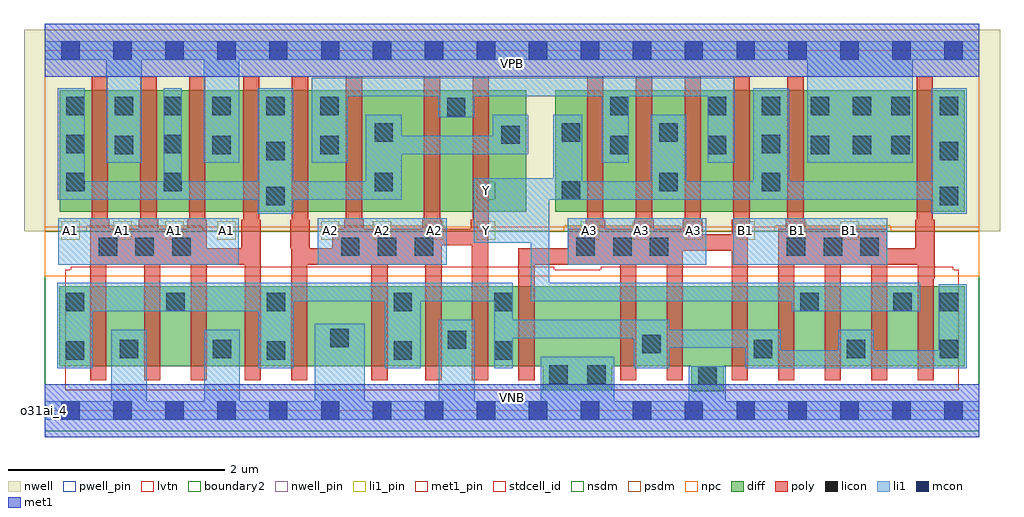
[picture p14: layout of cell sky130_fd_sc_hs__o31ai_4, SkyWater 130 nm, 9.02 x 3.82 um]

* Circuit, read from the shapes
.subckt sky130_fd_sc_hs__o31ai_4 A1 A2 A3 B1 VGND VNB VPB VPWR Y
XM1 VGND A1 n1 VNB sky130_fd_pr__nfet_01v8_lvt w=0.74 l=0.15 m=4
XM2 VGND A2 n1 VNB sky130_fd_pr__nfet_01v8_lvt w=0.74 l=0.15 m=4
XM3 VGND A3 n1 VNB sky130_fd_pr__nfet_01v8_lvt w=0.74 l=0.15 m=4
XM4 Y B1 n1 VNB sky130_fd_pr__nfet_01v8_lvt w=0.74 l=0.15 m=4
XM5 VPWR A1 n2 VPB sky130_fd_pr__pfet_01v8 w=1.12 l=0.15 m=4
XM6 n3 A2 n2 VPB sky130_fd_pr__pfet_01v8 w=1.12 l=0.15 m=4
XM7 n3 A3 Y VPB sky130_fd_pr__pfet_01v8 w=1.12 l=0.15 m=4
XM8 VPWR B1 Y VPB sky130_fd_pr__pfet_01v8 w=1.12 l=0.15 m=2
.ends

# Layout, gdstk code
import gdstk
lib = gdstk.Library(unit=1e-6, precision=1e-09)
def R(c, l, rs):  # rectangles x0, y0, x1, y1
    for r in rs: c.add(gdstk.rectangle(r[:2], r[2:], *l))
def A(c, l, x, y, w, h, nx, ny, dx, dy):  # array of equal rectangles
    R(c, l, [(x+i*dx, y+j*dy, x+i*dx+w, y+j*dy+h) for i in range(nx) for j in range(ny)])
def P(c, l, *ps):  # polygons
    for p in ps: c.add(gdstk.Polygon(p, *l))
nwell_pin = (64, 16)
nwell = (64, 20)
diff = (65, 20)
poly = (66, 20)
licon = (66, 44)
li1_pin = (67, 16)
li1 = (67, 20)
mcon = (67, 44)
met1_pin = (68, 16)
met1 = (68, 20)
stdcell_id = (81, 4)
nsdm = (93, 44)
psdm = (94, 20)
npc = (95, 20)
pwell_pin = (122, 16)
lvtn = (125, 44)
boundary2 = (236, 0)

sky130_fd_sc_hs__o31ai_4 = lib.new_cell('sky130_fd_sc_hs__o31ai_4')
R(sky130_fd_sc_hs__o31ai_4, nwell_pin, [(0,3.085,8.64,3.33)])
R(sky130_fd_sc_hs__o31ai_4, nwell, [(-0.19,1.66,8.83,3.52)])
R(sky130_fd_sc_hs__o31ai_4, diff, [(0.14,1.84,4.45,2.96), (4.72,1.84,8.505,2.96)])
P(sky130_fd_sc_hs__o31ai_4, diff, [(8.505,1.15),(0.135,1.15),(0.135,0.41),(4.605,0.41),(4.605,0.19),(5.245,0.19),(5.245,0.41),(5.975,0.41),(5.975,0.18),(6.275,0.18),(6.275,0.41),(8.505,0.41)])
P(sky130_fd_sc_hs__o31ai_4, poly, [(2,1.765),(1.985,1.765),(1.985,3.09),(1.835,3.09),(1.835,1.765),(1.82,1.765),(1.82,1.5),(1.5,1.5),(1.5,1.765),(1.485,1.765),(1.485,3.09),(1.335,3.09),(1.335,1.765),(1.32,1.765),(1.32,1.68),(1.05,1.68),(1.05,1.765),(1.035,1.765),(1.035,3.09),(0.885,3.09),(0.885,1.765),(0.87,1.765),(0.87,1.68),(0.6,1.68),(0.6,1.765),(0.585,1.765),(0.585,3.09),(0.435,3.09),(0.435,1.765),(0.42,1.765),(0.42,0.28),(0.57,0.28),(0.57,1.35),(0.92,1.35),(0.92,0.28),(1.07,0.28),(1.07,1.35),(1.35,1.35),(1.35,0.28),(1.5,0.28),(1.5,1.35),(1.85,1.35),(1.85,0.28),(2,0.28)],
  [(4.105,3.09),(3.955,3.09),(3.955,1.765),(3.94,1.765),(3.94,1.68),(3.67,1.68),(3.67,1.765),(3.655,1.765),(3.655,3.09),(3.505,3.09),(3.505,1.765),(3.49,1.765),(3.49,1.68),(2.95,1.68),(2.95,1.765),(2.935,1.765),(2.935,3.09),(2.785,3.09),(2.785,1.765),(2.77,1.765),(2.77,1.68),(2.66,1.68),(2.66,1.5),(2.45,1.5),(2.45,1.765),(2.435,1.765),(2.435,3.09),(2.285,3.09),(2.285,1.765),(2.27,1.765),(2.27,1.5),(2.28,1.5),(2.28,0.28),(2.43,0.28),(2.43,1.35),(3.02,1.35),(3.02,0.28),(3.17,0.28),(3.17,1.35),(3.52,1.35),(3.52,0.28),(3.67,0.28),(3.67,1.53),(3.95,1.53),(3.95,0.28),(4.1,0.28),(4.1,1.68),(4.105,1.68)],
  [(6.515,3.09),(6.365,3.09),(6.365,1.765),(6.35,1.765),(6.35,1.63),(6.08,1.63),(6.08,1.765),(6.065,1.765),(6.065,3.09),(5.915,3.09),(5.915,1.765),(5.9,1.765),(5.9,1.68),(5.63,1.68),(5.63,1.765),(5.615,1.765),(5.615,3.09),(5.465,3.09),(5.465,1.765),(5.45,1.765),(5.45,1.68),(5.18,1.68),(5.18,1.765),(5.165,1.765),(5.165,3.09),(5.015,3.09),(5.015,1.765),(5,1.765),(5,1.68),(4.835,1.68),(4.835,1.5),(4.38,1.5),(4.38,0.28),(4.53,0.28),(4.53,1.35),(5.32,1.35),(5.32,0.28),(5.47,0.28),(5.47,1.35),(5.75,1.35),(5.75,0.28),(5.9,0.28),(5.9,1.48),(6.35,1.48),(6.35,0.28),(6.5,0.28),(6.5,1.63),(6.515,1.63)],
  [(8.225,1.765),(8.21,1.765),(8.21,3.09),(8.06,3.09),(8.06,1.765),(8.045,1.765),(8.045,1.5),(7.79,1.5),(7.79,1.68),(7.03,1.68),(7.03,1.765),(7.015,1.765),(7.015,3.09),(6.865,3.09),(6.865,1.765),(6.85,1.765),(6.85,1.68),(6.78,1.68),(6.78,0.28),(6.93,0.28),(6.93,1.35),(7.21,1.35),(7.21,0.28),(7.36,0.28),(7.36,1.35),(7.64,1.35),(7.64,0.28),(7.79,0.28),(7.79,1.35),(8.07,1.35),(8.07,0.28),(8.22,0.28),(8.22,1.225),(8.225,1.225)])
A(sky130_fd_sc_hs__o31ai_4, licon, 6.555, 0.485, 0.17, 0.17, 3, 1, 0.86, 0)
A(sky130_fd_sc_hs__o31ai_4, licon, 0.195, 0.92, 0.17, 0.17, 3, 1, 0.93, 0)
A(sky130_fd_sc_hs__o31ai_4, licon, 0.5, 1.43, 0.17, 0.17, 3, 1, 0.34, 0)
A(sky130_fd_sc_hs__o31ai_4, licon, 2.74, 1.43, 0.17, 0.17, 3, 1, 0.34, 0)
A(sky130_fd_sc_hs__o31ai_4, licon, 4.915, 1.43, 0.17, 0.17, 3, 1, 0.34, 0)
A(sky130_fd_sc_hs__o31ai_4, licon, 6.86, 1.43, 0.17, 0.17, 3, 1, 0.34, 0)
A(sky130_fd_sc_hs__o31ai_4, licon, 2.05, 1.9, 0.17, 0.17, 1, 3, 0, 0.415)
A(sky130_fd_sc_hs__o31ai_4, licon, 8.275, 1.9, 0.17, 0.17, 1, 3, 0, 0.415)
A(sky130_fd_sc_hs__o31ai_4, licon, 6.63, 2.03, 0.17, 0.17, 1, 3, 0, 0.35)
A(sky130_fd_sc_hs__o31ai_4, licon, 0.2, 2.73, 0.17, 0.17, 4, 1, 0.45, 0)
R(sky130_fd_sc_hs__o31ai_4, licon, [(6.04,0.24,6.21,0.41), (4.665,0.25,4.835,0.42), (5.015,0.25,5.185,0.42), (0.195,0.47,0.365,0.64), (2.055,0.47,2.225,0.64), (3.225,0.47,3.395,0.64), (4.155,0.47,4.325,0.64), (0.695,0.485,0.865,0.655), (1.555,0.485,1.725,0.655), (5.525,0.53,5.695,0.7), (3.725,0.57,3.895,0.74), (2.64,0.585,2.81,0.755), (3.225,0.92,3.395,1.09), (4.155,0.92,4.325,1.09), (6.985,0.92,7.155,1.09), (7.845,0.92,8.015,1.09), (8.275,0.92,8.445,1.09), (4.78,1.95,4.95,2.12), (0.2,2.03,0.37,2.2), (1.1,2.03,1.27,2.2), (3.05,2.03,3.22,2.2), (5.68,2.03,5.85,2.2), (0.65,2.37,0.82,2.54), (1.55,2.37,1.72,2.54), (2.55,2.37,2.72,2.54), (5.23,2.37,5.4,2.54), (6.13,2.37,6.3,2.54), (7.08,2.37,7.25,2.54), (7.47,2.37,7.64,2.54), (7.825,2.37,7.995,2.54), (0.2,2.38,0.37,2.55), (1.1,2.38,1.27,2.55), (4.22,2.465,4.39,2.635), (3.05,2.485,3.22,2.655), (4.78,2.485,4.95,2.655), (5.68,2.485,5.85,2.655), (3.72,2.72,3.89,2.89), (2.55,2.73,2.72,2.9), (5.23,2.73,5.4,2.9), (6.13,2.73,6.3,2.9), (7.08,2.73,7.25,2.9), (7.47,2.73,7.64,2.9), (7.825,2.73,7.995,2.9)])
A(sky130_fd_sc_hs__o31ai_4, li1_pin, 0.155, 1.58, 0.17, 0.17, 4, 1, 0.48, 0)
A(sky130_fd_sc_hs__o31ai_4, li1_pin, 2.555, 1.58, 0.17, 0.17, 4, 1, 0.48, 0)
A(sky130_fd_sc_hs__o31ai_4, li1_pin, 4.955, 1.58, 0.17, 0.17, 6, 1, 0.48, 0)
R(sky130_fd_sc_hs__o31ai_4, li1_pin, [(3.995,1.95,4.165,2.12)])
R(sky130_fd_sc_hs__o31ai_4, li1, [(0.125,1.35,1.795,1.78), (2.525,1.35,3.715,1.78), (4.835,1.35,6.115,1.78), (6.365,1.35,7.79,1.78)])
P(sky130_fd_sc_hs__o31ai_4, li1, [(7.05,2.29),(7.05,3.245),(1.8,3.245),(1.8,2.29),(1.47,2.29),(1.47,3.245),(0.9,3.245),(0.9,2.29),(0.57,2.29),(0.57,3.245),(0,3.245),(0,3.415),(8.64,3.415),(8.64,3.245),(8.025,3.245),(8.025,2.29)],
  [(5.955,0.085),(5.955,0.41),(6.295,0.41),(6.295,0.085),(8.64,0.085),(8.64,-0.085),(0,-0.085),(0,0.085),(0.615,0.085),(0.615,0.75),(0.945,0.75),(0.945,0.085),(1.475,0.085),(1.475,0.75),(1.805,0.75),(1.805,0.085),(2.495,0.085),(2.495,0.805),(2.96,0.805),(2.96,0.085),(3.645,0.085),(3.645,0.84),(3.975,0.84),(3.975,0.085),(4.585,0.085),(4.585,0.5),(5.265,0.5),(5.265,0.085)],
  [(8.525,2.98),(8.195,2.98),(8.195,2.12),(6.88,2.12),(6.88,2.98),(6.55,2.98),(6.55,2.12),(5.93,2.12),(5.93,2.735),(5.6,2.735),(5.6,2.12),(4.97,2.12),(4.97,2.735),(4.7,2.735),(4.7,2.15),(3.965,2.15),(3.965,1.55),(4.495,1.55),(4.495,1.01),(6.905,1.01),(6.905,0.92),(8.095,0.92),(8.095,1.18),(4.665,1.18),(4.665,1.95),(8.195,1.95),(8.195,1.82),(8.525,1.82)],
  [(3.64,2.71),(3.64,2.905),(2.8,2.905),(2.8,2.29),(2.47,2.29),(2.47,3.075),(6.38,3.075),(6.38,2.29),(6.13,2.29),(6.13,2.905),(5.4,2.905),(5.4,2.29),(5.15,2.29),(5.15,2.905),(3.97,2.905),(3.97,2.71)],
  [(1.1,2.12),(1.1,2.98),(1.27,2.98),(1.27,2.12),(1.97,2.12),(1.97,2.98),(2.3,2.98),(2.3,2.12),(2.97,2.12),(2.97,2.735),(3.3,2.735),(3.3,2.54),(4.14,2.54),(4.14,2.735),(4.47,2.735),(4.47,2.37),(3.3,2.37),(3.3,1.95),(2.3,1.95),(2.3,1.82),(1.97,1.82),(1.97,1.95),(0.12,1.95),(0.12,2.98),(0.37,2.98),(0.37,2.12)],
  [(4.325,1.18),(4.325,0.84),(5.775,0.84),(5.775,0.75),(6.805,0.75),(6.805,0.56),(7.335,0.56),(7.335,0.75),(7.665,0.75),(7.665,0.56),(8.265,0.56),(8.265,1.17),(8.525,1.17),(8.525,0.39),(6.475,0.39),(6.475,0.58),(5.775,0.58),(5.775,0.39),(5.445,0.39),(5.445,0.67),(4.325,0.67),(4.325,0.39),(4.155,0.39),(4.155,1.01),(3.475,1.01),(3.475,0.39),(3.145,0.39),(3.145,1.01),(2.305,1.01),(2.305,0.39),(1.975,0.39),(1.975,0.92),(0.445,0.92),(0.445,0.39),(0.115,0.39),(0.115,1.18)])
A(sky130_fd_sc_hs__o31ai_4, mcon, 0.155, -0.085, 0.17, 0.17, 18, 2, 0.48, 3.33)
R(sky130_fd_sc_hs__o31ai_4, met1_pin, [(0,0,8.64,0.245), (0,3.085,8.64,3.33)])
R(sky130_fd_sc_hs__o31ai_4, met1, [(0,-0.245,8.64,0.245), (0,3.085,8.64,3.575)])
R(sky130_fd_sc_hs__o31ai_4, stdcell_id, [(0,0,8.64,3.33)])
R(sky130_fd_sc_hs__o31ai_4, nsdm, [(0,-0.19,8.64,1.66)])
P(sky130_fd_sc_hs__o31ai_4, psdm, [(8.64,3.52),(0,3.52),(0,1.66),(0.39,1.66),(0.39,1.71),(1.46,1.71),(1.46,1.66),(2.63,1.66),(2.63,1.71),(3.7,1.71),(3.7,1.66),(4.805,1.66),(4.805,1.71),(5.875,1.71),(5.875,1.66),(6.75,1.66),(6.75,1.71),(7.82,1.71),(7.82,1.66),(8.64,1.66)])
R(sky130_fd_sc_hs__o31ai_4, npc, [(0,1.24,8.64,1.7)])
R(sky130_fd_sc_hs__o31ai_4, pwell_pin, [(0,0,8.64,0.245)])
P(sky130_fd_sc_hs__o31ai_4, lvtn, [(8.45,1.3),(8.4,1.3),(8.4,1.33),(5.14,1.33),(5.14,1.3),(4.71,1.3),(4.71,1.33),(0.24,1.33),(0.24,1.3),(0.19,1.3),(0.19,0.19),(8.45,0.19)])
R(sky130_fd_sc_hs__o31ai_4, boundary2, [(0,0,8.64,3.33)])
sky130_fd_sc_hs__o31ai_4.add(gdstk.Label('o31ai_4', (0,0), layer=83, texttype=44))
sky130_fd_sc_hs__o31ai_4.add(gdstk.Label('VNB', (4.32,0.123), layer=64, texttype=59))
sky130_fd_sc_hs__o31ai_4.add(gdstk.Label('VPB', (4.32,3.208), layer=64, texttype=5))
sky130_fd_sc_hs__o31ai_4.add(gdstk.Label('VPWR', (4.32,3.208), layer=68, texttype=5))
sky130_fd_sc_hs__o31ai_4.add(gdstk.Label('VGND', (4.32,0.123), layer=68, texttype=5))
sky130_fd_sc_hs__o31ai_4.add(gdstk.Label('Y', (4.08,1.665), layer=67, texttype=5))
sky130_fd_sc_hs__o31ai_4.add(gdstk.Label('Y', (4.08,2.035), layer=67, texttype=5))
sky130_fd_sc_hs__o31ai_4.add(gdstk.Label('B1', (6.48,1.665), layer=67, texttype=5))
sky130_fd_sc_hs__o31ai_4.add(gdstk.Label('B1', (6.96,1.665), layer=67, texttype=5))
sky130_fd_sc_hs__o31ai_4.add(gdstk.Label('B1', (7.44,1.665), layer=67, texttype=5))
sky130_fd_sc_hs__o31ai_4.add(gdstk.Label('A3', (5.04,1.665), layer=67, texttype=5))
sky130_fd_sc_hs__o31ai_4.add(gdstk.Label('A3', (5.52,1.665), layer=67, texttype=5))
sky130_fd_sc_hs__o31ai_4.add(gdstk.Label('A3', (6,1.665), layer=67, texttype=5))
sky130_fd_sc_hs__o31ai_4.add(gdstk.Label('A2', (2.64,1.665), layer=67, texttype=5))
sky130_fd_sc_hs__o31ai_4.add(gdstk.Label('A2', (3.12,1.665), layer=67, texttype=5))
sky130_fd_sc_hs__o31ai_4.add(gdstk.Label('A2', (3.6,1.665), layer=67, texttype=5))
sky130_fd_sc_hs__o31ai_4.add(gdstk.Label('A1', (0.24,1.665), layer=67, texttype=5))
sky130_fd_sc_hs__o31ai_4.add(gdstk.Label('A1', (0.72,1.665), layer=67, texttype=5))
sky130_fd_sc_hs__o31ai_4.add(gdstk.Label('A1', (1.2,1.665), layer=67, texttype=5))
sky130_fd_sc_hs__o31ai_4.add(gdstk.Label('A1', (1.68,1.665), layer=67, texttype=5))

lib.write_gds('sky130_fd_sc_hs__o31ai_4.gds')
